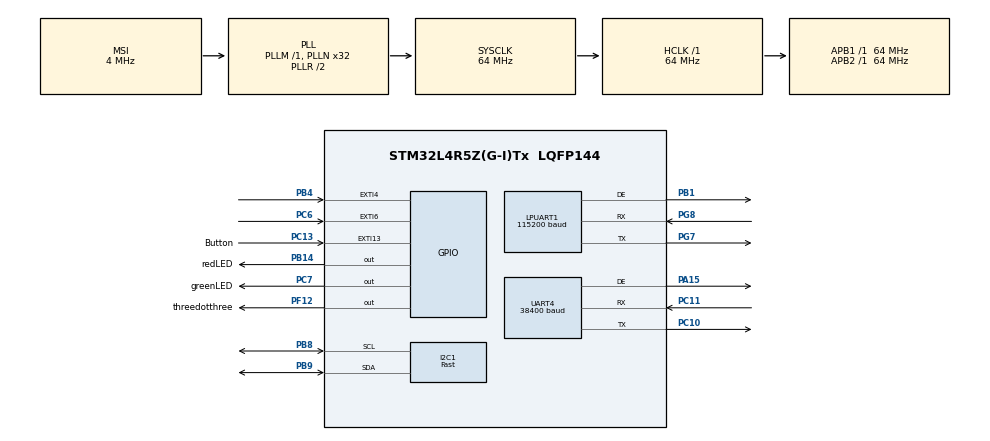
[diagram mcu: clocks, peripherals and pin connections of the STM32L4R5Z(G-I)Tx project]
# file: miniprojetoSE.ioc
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Mcu.Family=STM32L4
PG8.Mode=Asynchronous
VP_SYS_VS_tim6.Mode=TIM6
RCC.CortexFreq_Value=64000000
NVIC.DMA1_Channel5_IRQn=true\:5\:0\:false\:false\:true\:false\:false\:true
I2C1.I2C_Speed_Mode=I2C_Fast
NVIC.TIM6_DAC_IRQn=true\:0\:0\:false\:false\:true\:false\:false\:true
PG8.Signal=LPUART1_RX
Dma.LPUART1_RX.0.RequestNumber=1
PC10.Signal=UART4_TX
PB14.GPIO_Label=redLED
LPUART1.WordLength=UART_WORDLENGTH_8B
PA15\ (JTDI).Signal=UART4_DE
Dma.LPUART1_RX.0.Direction=DMA_PERIPH_TO_MEMORY
PC13.GPIO_Label=Button
RCC.SYSCLKSource=RCC_SYSCLKSOURCE_PLLCLK
ProjectManager.StackSize=0x400
VP_FREERTOS_VS_CMSIS_V2.Mode=CMSIS_V2
PA14\ (JTCK/SWCLK).Signal=SYS_JTCK-SWCLK
PA15\ (JTDI).Mode=Hardware Flow Control (RS485)
UART4.BaudRate=38400
RCC.HCLKFreq_Value=64000000
RCC.APB2TimFreq_Value=64000000
PC7.Signal=GPIO_Output
PF12.Signal=GPIO_Output
RCC.AHBFreq_Value=64000000
NVIC.EXTI15_10_IRQn=true\:5\:0\:false\:false\:true\:true\:true\:true
Dma.LPUART1_RX.0.PeriphDataAlignment=DMA_PDATAALIGN_BYTE
Dma.LPUART1_RX.0.Polarity=HAL_DMAMUX_REQUEST_GEN_RISING
RCC.HSE_VALUE=8000000
Dma.LPUART1_RX.0.MemInc=DMA_MINC_ENABLE
Dma.LPUART1_RX.0.SyncRequestNumber=1
PF12.GPIO_Label=threedotthree
Dma.LPUART1_RX.0.SyncPolarity=HAL_DMAMUX_SYNC_NO_EVENT
Dma.LPUART1_RX.0.SyncEnable=DISABLE
PA14\ (JTCK/SWCLK).Mode=Serial_Wire
Dma.LPUART1_RX.0.Priority=DMA_PRIORITY_LOW
Dma.LPUART1_RX.0.EventEnable=DISABLE
FREERTOS.configTOTAL_HEAP_SIZE=5000
Mcu.Package=LQFP144
PB9.Signal=I2C1_SDA
PB1.Signal=LPUART1_DE
Dma.LPUART1_RX.0.Mode=DMA_CIRCULAR
NVIC.TimeBase=TIM6_DAC_IRQn
NVIC.TimeBaseIP=TIM6
Dma.LPUART1_RX.0.SignalID=NONE
PC11.Mode=Asynchronous
Dma.LPUART1_RX.0.SyncSignalID=NONE
RCC.APB1TimFreq_Value=64000000
Dma.Request0=LPUART1_RX
RCC.HSI48_VALUE=48000000
RCC.MSI_VALUE=4000000
I2C1.Speed=200
NVIC.EXTI4_IRQn=true\:5\:0\:false\:false\:true\:true\:true\:true
FREERTOS.Tasks01=TransmitTask_BT,9,256,StartTransmitTask_BT,Default,NULL,Dynamic,NULL,NULL;SensorTask,25,512,StartSensorTask,Default,NULL,Dynamic,NULL,NULL
PG7.Signal=LPUART1_TX
PA13\ (JTMS/SWDIO).Mode=Serial_Wire
PC13.Signal=GPXTI13
PC11.Signal=UART4_RX
Dma.LPUART1_RX.0.MemDataAlignment=DMA_MDATAALIGN_BYTE
PC6.Signal=GPXTI6
PC10.Mode=Asynchronous
Dma.LPUART1_RX.0.Instance=DMA1_Channel5
Dma.LPUART1_RX.0.PeriphInc=DMA_PINC_DISABLE
ProjectManager.TargetToolchain=STM32CubeIDE
PB9.Mode=I2C
I2C1.Timing=0x40101A22
PG7.Mode=Asynchronous
RCC.LSE_VALUE=32768
PB14.Signal=GPIO_Output
board=custom
RCC.VCOOutputFreq_Value=128000000
RCC.APB2Freq_Value=64000000
Mcu.Name=STM32L4R5Z(G-I)Tx
LPUART1.BaudRate=115200
PC7.GPIO_Label=greenLED
RCC.SYSCLKFreq_VALUE=64000000
NVIC.EXTI9_5_IRQn=true\:5\:0\:false\:false\:true\:true\:true\:true
ProjectManager.HeapSize=0x200
PB1.Mode=Hardware Flow Control (RS485)
RCC.HSI_VALUE=16000000
NVIC.PriorityGroup=NVIC_PRIORITYGROUP_4
RCC.PLLN=32
PB8.Mode=I2C
PB8.Signal=I2C1_SCL
RCC.APB1Freq_Value=64000000
PA13\ (JTMS/SWDIO).Signal=SYS_JTMS-SWDIO
PB4\ (NJTRST).Signal=GPXTI4

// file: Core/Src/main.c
/* USER CODE BEGIN Header */
/**
  ******************************************************************************
  * @file           : main.c
  * @brief          : Main program body
  ******************************************************************************
  * @attention
  *
  * <h2><center>&copy; Copyright (c) 2021 STMicroelectronics.
  * All rights reserved.</center></h2>
  *
  * This software component is licensed by ST under BSD 3-Clause license,
  * the "License"; You may not use this file except in compliance with the
  * License. You may obtain a copy of the License at:
  *                        opensource.org/licenses/BSD-3-Clause
  *
  ******************************************************************************
  */
/* USER CODE END Header */
#include "main.h"
#include "cmsis_os.h"

/* USER CODE BEGIN Includes */
#include <string.h>
#include <stdio.h>
#include <math.h>
#include <mySensor.h>
#include "../Inc/Message.h"
#include "macros.h"
#include "mpu.h"
#include "inv_mpu.h"
#include "inv_mpu_dmp_motion_driver.h"
/* USER CODE END Includes */

/* USER CODE BEGIN PD */
#define BUFFER_LEN 1
/* USER CODE END PD */

I2C_HandleTypeDef hi2c1;

UART_HandleTypeDef hlpuart1;
UART_HandleTypeDef huart4;
DMA_HandleTypeDef hdma_lpuart1_rx;

/* Definitions for TransmitTask_BT */
osThreadId_t TransmitTask_BTHandle;
const osThreadAttr_t TransmitTask_BT_attributes = {
  .name = "TransmitTask_BT",
  .stack_size = 256 * 4,
  .priority = (osPriority_t) osPriorityLow1,
};
/* Definitions for SensorTask */
osThreadId_t SensorTaskHandle;
const osThreadAttr_t SensorTask_attributes = {
  .name = "SensorTask",
  .stack_size = 512 * 4,
  .priority = (osPriority_t) osPriorityNormal1,
};
/* USER CODE BEGIN PV */

uint8_t BT_BUFFER[BUFFER_LEN];
uint8_t SR_BUFFER[BUFFER_LEN] = "";

uint8_t read = 0;
struct hal_s hal = {0};
int removGrav = 1;

int _write(int file, char *ptr, int len)
{
	HAL_UART_Transmit(&hlpuart1, (uint8_t *) ptr, len, 10);
	return len;
}
//extern struct angles_t angle;// = {0,0,0};
//extern struct accel_t accel;// = {0,0,0};

//extern struct sensor_t MPU1;// = {{0,0,0},{0,0,0}};
struct sensor_t sensor1 = {0};
struct sensor_t sensor2 = {0};
//uint32_t temp = 0;
uint16_t counter = 0;

/* USER CODE END PV */

void SystemClock_Config(void);
static void MX_GPIO_Init(void);
static void MX_DMA_Init(void);
static void MX_LPUART1_UART_Init(void);
static void MX_UART4_Init(void);
static void MX_I2C1_Init(void);
void StartTransmitTask_BT(void *argument);
void StartSensorTask(void *argument);

int main(void)
{

  /* MCU Configuration--------------------------------------------------------*/

  /* Reset of all peripherals, Initializes the Flash interface and the Systick. */
  HAL_Init();

  /* Configure the system clock */
  SystemClock_Config();

  /* Initialize all configured peripherals */
  MX_GPIO_Init();
  MX_DMA_Init();
  MX_LPUART1_UART_Init();
  MX_UART4_Init();
  MX_I2C1_Init();
  /* USER CODE BEGIN 2 */
  HAL_UART_Receive_DMA (&hlpuart1, SR_BUFFER, BUFFER_LEN);
  HAL_UART_Receive_IT(&huart4, BT_BUFFER, BUFFER_LEN);

  HAL_GPIO_WritePin(threedotthree_GPIO_Port, threedotthree_Pin, GPIO_PIN_SET);
  /* USER CODE END 2 */

  /* Init scheduler */
  osKernelInitialize();

  /* Create the thread(s) */
  /* creation of TransmitTask_BT */
  TransmitTask_BTHandle = osThreadNew(StartTransmitTask_BT, NULL, &TransmitTask_BT_attributes);

  /* creation of SensorTask */
  SensorTaskHandle = osThreadNew(StartSensorTask, NULL, &SensorTask_attributes);

  /* Start scheduler */
  osKernelStart();

  /* We should never get here as control is now taken by the scheduler */
  /* Infinite loop */
  while (1)
  {

  }
}

void SystemClock_Config(void)
{
  RCC_OscInitTypeDef RCC_OscInitStruct = {0};
  RCC_ClkInitTypeDef RCC_ClkInitStruct = {0};
  RCC_PeriphCLKInitTypeDef PeriphClkInit = {0};

  /** Configure the main internal regulator output voltage
  */
  if (HAL_PWREx_ControlVoltageScaling(PWR_REGULATOR_VOLTAGE_SCALE1) != HAL_OK)
  {
    Error_Handler();
  }
  /** Initializes the RCC Oscillators according to the specified parameters
  * in the RCC_OscInitTypeDef structure.
  */
  RCC_OscInitStruct.OscillatorType = RCC_OSCILLATORTYPE_MSI;
  RCC_OscInitStruct.MSIState = RCC_MSI_ON;
  RCC_OscInitStruct.MSICalibrationValue = 0;
  RCC_OscInitStruct.MSIClockRange = RCC_MSIRANGE_6;
  RCC_OscInitStruct.PLL.PLLState = RCC_PLL_ON;
  RCC_OscInitStruct.PLL.PLLSource = RCC_PLLSOURCE_MSI;
  RCC_OscInitStruct.PLL.PLLM = 1;
  RCC_OscInitStruct.PLL.PLLN = 32;
  RCC_OscInitStruct.PLL.PLLP = RCC_PLLP_DIV2;
  RCC_OscInitStruct.PLL.PLLQ = RCC_PLLQ_DIV2;
  RCC_OscInitStruct.PLL.PLLR = RCC_PLLR_DIV2;
  if (HAL_RCC_OscConfig(&RCC_OscInitStruct) != HAL_OK)
  {
    Error_Handler();
  }
  /** Initializes the CPU, AHB and APB buses clocks
  */
  RCC_ClkInitStruct.ClockType = RCC_CLOCKTYPE_HCLK|RCC_CLOCKTYPE_SYSCLK
                              |RCC_CLOCKTYPE_PCLK1|RCC_CLOCKTYPE_PCLK2;
  RCC_ClkInitStruct.SYSCLKSource = RCC_SYSCLKSOURCE_PLLCLK;
  RCC_ClkInitStruct.AHBCLKDivider = RCC_SYSCLK_DIV1;
  RCC_ClkInitStruct.APB1CLKDivider = RCC_HCLK_DIV1;
  RCC_ClkInitStruct.APB2CLKDivider = RCC_HCLK_DIV1;

  if (HAL_RCC_ClockConfig(&RCC_ClkInitStruct, FLASH_LATENCY_3) != HAL_OK)
  {
    Error_Handler();
  }
  PeriphClkInit.PeriphClockSelection = RCC_PERIPHCLK_UART4|RCC_PERIPHCLK_LPUART1
                              |RCC_PERIPHCLK_I2C1;
  PeriphClkInit.Uart4ClockSelection = RCC_UART4CLKSOURCE_PCLK1;
  PeriphClkInit.Lpuart1ClockSelection = RCC_LPUART1CLKSOURCE_PCLK1;
  PeriphClkInit.I2c1ClockSelection = RCC_I2C1CLKSOURCE_PCLK1;
  if (HAL_RCCEx_PeriphCLKConfig(&PeriphClkInit) != HAL_OK)
  {
    Error_Handler();
  }
}

static void MX_I2C1_Init(void)
{

  hi2c1.Instance = I2C1;
  hi2c1.Init.Timing = 0x40101A22;
  hi2c1.Init.OwnAddress1 = 0;
  hi2c1.Init.AddressingMode = I2C_ADDRESSINGMODE_7BIT;
  hi2c1.Init.DualAddressMode = I2C_DUALADDRESS_DISABLE;
  hi2c1.Init.OwnAddress2 = 0;
  hi2c1.Init.OwnAddress2Masks = I2C_OA2_NOMASK;
  hi2c1.Init.GeneralCallMode = I2C_GENERALCALL_DISABLE;
  hi2c1.Init.NoStretchMode = I2C_NOSTRETCH_DISABLE;
  if (HAL_I2C_Init(&hi2c1) != HAL_OK)
  {
    Error_Handler();
  }
  /** Configure Analogue filter
  */
  if (HAL_I2CEx_ConfigAnalogFilter(&hi2c1, I2C_ANALOGFILTER_ENABLE) != HAL_OK)
  {
    Error_Handler();
  }
  /** Configure Digital filter
  */
  if (HAL_I2CEx_ConfigDigitalFilter(&hi2c1, 0) != HAL_OK)
  {
    Error_Handler();
  }

}

static void MX_LPUART1_UART_Init(void)
{

  hlpuart1.Instance = LPUART1;
  hlpuart1.Init.BaudRate = 115200;
  hlpuart1.Init.WordLength = UART_WORDLENGTH_8B;
  hlpuart1.Init.StopBits = UART_STOPBITS_1;
  hlpuart1.Init.Parity = UART_PARITY_NONE;
  hlpuart1.Init.Mode = UART_MODE_TX_RX;
  hlpuart1.Init.HwFlowCtl = UART_HWCONTROL_NONE;
  hlpuart1.Init.OneBitSampling = UART_ONE_BIT_SAMPLE_DISABLE;
  hlpuart1.Init.ClockPrescaler = UART_PRESCALER_DIV1;
  hlpuart1.AdvancedInit.AdvFeatureInit = UART_ADVFEATURE_NO_INIT;
  hlpuart1.FifoMode = UART_FIFOMODE_DISABLE;
  if (HAL_RS485Ex_Init(&hlpuart1, UART_DE_POLARITY_HIGH, 0, 0) != HAL_OK)
  {
    Error_Handler();
  }
  if (HAL_UARTEx_SetTxFifoThreshold(&hlpuart1, UART_TXFIFO_THRESHOLD_1_8) != HAL_OK)
  {
    Error_Handler();
  }
  if (HAL_UARTEx_SetRxFifoThreshold(&hlpuart1, UART_RXFIFO_THRESHOLD_1_8) != HAL_OK)
  {
    Error_Handler();
  }
  if (HAL_UARTEx_DisableFifoMode(&hlpuart1) != HAL_OK)
  {
    Error_Handler();
  }

}

static void MX_UART4_Init(void)
{

  huart4.Instance = UART4;
  huart4.Init.BaudRate = 38400;
  huart4.Init.WordLength = UART_WORDLENGTH_8B;
  huart4.Init.StopBits = UART_STOPBITS_1;
  huart4.Init.Parity = UART_PARITY_NONE;
  huart4.Init.Mode = UART_MODE_TX_RX;
  huart4.Init.HwFlowCtl = UART_HWCONTROL_NONE;
  huart4.Init.OverSampling = UART_OVERSAMPLING_16;
  huart4.Init.OneBitSampling = UART_ONE_BIT_SAMPLE_DISABLE;
  huart4.Init.ClockPrescaler = UART_PRESCALER_DIV1;
  huart4.AdvancedInit.AdvFeatureInit = UART_ADVFEATURE_NO_INIT;
  huart4.FifoMode = UART_FIFOMODE_DISABLE;
  if (HAL_RS485Ex_Init(&huart4, UART_DE_POLARITY_HIGH, 0, 0) != HAL_OK)
  {
    Error_Handler();
  }
  if (HAL_UARTEx_SetTxFifoThreshold(&huart4, UART_TXFIFO_THRESHOLD_1_8) != HAL_OK)
  {
    Error_Handler();
  }
  if (HAL_UARTEx_SetRxFifoThreshold(&huart4, UART_RXFIFO_THRESHOLD_1_8) != HAL_OK)
  {
    Error_Handler();
  }
  if (HAL_UARTEx_DisableFifoMode(&huart4) != HAL_OK)
  {
    Error_Handler();
  }

}

static void MX_DMA_Init(void)
{

  /* DMA controller clock enable */
  __HAL_RCC_DMAMUX1_CLK_ENABLE();
  __HAL_RCC_DMA1_CLK_ENABLE();

  /* DMA interrupt init */
  /* DMA1_Channel5_IRQn interrupt configuration */
  HAL_NVIC_SetPriority(DMA1_Channel5_IRQn, 5, 0);
  HAL_NVIC_EnableIRQ(DMA1_Channel5_IRQn);

}

static void MX_GPIO_Init(void)
{
  GPIO_InitTypeDef GPIO_InitStruct = {0};

  /* GPIO Ports Clock Enable */
  __HAL_RCC_GPIOC_CLK_ENABLE();
  __HAL_RCC_GPIOB_CLK_ENABLE();
  __HAL_RCC_GPIOF_CLK_ENABLE();
  __HAL_RCC_GPIOG_CLK_ENABLE();
  HAL_PWREx_EnableVddIO2();
  __HAL_RCC_GPIOA_CLK_ENABLE();

  /*Configure GPIO pin Output Level */
  HAL_GPIO_WritePin(threedotthree_GPIO_Port, threedotthree_Pin, GPIO_PIN_RESET);

  /*Configure GPIO pin Output Level */
  HAL_GPIO_WritePin(redLED_GPIO_Port, redLED_Pin, GPIO_PIN_RESET);

  /*Configure GPIO pin Output Level */
  HAL_GPIO_WritePin(greenLED_GPIO_Port, greenLED_Pin, GPIO_PIN_RESET);

  /*Configure GPIO pins : Button_Pin PC6 */
  GPIO_InitStruct.Pin = Button_Pin|GPIO_PIN_6;
  GPIO_InitStruct.Mode = GPIO_MODE_IT_RISING;
  GPIO_InitStruct.Pull = GPIO_NOPULL;
  HAL_GPIO_Init(GPIOC, &GPIO_InitStruct);

  /*Configure GPIO pin : threedotthree_Pin */
  GPIO_InitStruct.Pin = threedotthree_Pin;
  GPIO_InitStruct.Mode = GPIO_MODE_OUTPUT_PP;
  GPIO_InitStruct.Pull = GPIO_NOPULL;
  GPIO_InitStruct.Speed = GPIO_SPEED_FREQ_LOW;
  HAL_GPIO_Init(threedotthree_GPIO_Port, &GPIO_InitStruct);

  /*Configure GPIO pin : redLED_Pin */
  GPIO_InitStruct.Pin = redLED_Pin;
  GPIO_InitStruct.Mode = GPIO_MODE_OUTPUT_PP;
  GPIO_InitStruct.Pull = GPIO_NOPULL;
  GPIO_InitStruct.Speed = GPIO_SPEED_FREQ_LOW;
  HAL_GPIO_Init(redLED_GPIO_Port, &GPIO_InitStruct);

  /*Configure GPIO pin : greenLED_Pin */
  GPIO_InitStruct.Pin = greenLED_Pin;
  GPIO_InitStruct.Mode = GPIO_MODE_OUTPUT_PP;
  GPIO_InitStruct.Pull = GPIO_NOPULL;
  GPIO_InitStruct.Speed = GPIO_SPEED_FREQ_LOW;
  HAL_GPIO_Init(greenLED_GPIO_Port, &GPIO_InitStruct);

  /*Configure GPIO pin : PB4 */
  GPIO_InitStruct.Pin = GPIO_PIN_4;
  GPIO_InitStruct.Mode = GPIO_MODE_IT_RISING;
  GPIO_InitStruct.Pull = GPIO_NOPULL;
  HAL_GPIO_Init(GPIOB, &GPIO_InitStruct);

  /* EXTI interrupt init*/
  HAL_NVIC_SetPriority(EXTI4_IRQn, 5, 0);
  HAL_NVIC_EnableIRQ(EXTI4_IRQn);

  HAL_NVIC_SetPriority(EXTI9_5_IRQn, 5, 0);
  HAL_NVIC_EnableIRQ(EXTI9_5_IRQn);

  HAL_NVIC_SetPriority(EXTI15_10_IRQn, 5, 0);
  HAL_NVIC_EnableIRQ(EXTI15_10_IRQn);

}

/* USER CODE BEGIN 4 */
void HAL_GPIO_EXTI_Callback(uint16_t GPIO_Pin){
	if(GPIO_Pin == GPIO_PIN_6){
		sensor1.interrupt_flag = 1;
//		printf("Int1\n");
	}
	if(GPIO_Pin == GPIO_PIN_4){
		sensor2.interrupt_flag = 1;
//		printf("Int2\n");
	}
	if(GPIO_Pin == Button_Pin){
		if(removGrav == 0) removGrav = 1;
		else removGrav = 0;
	}
}

/*
void calibrateMPU(void){
	uint8_t state = 0;
	while(true){
		switch(state){
			case 0:

			break;
			case 1:
			break;
		}
	}
}
*/

/* USER CODE END 4 */

void StartTransmitTask_BT(void *argument)
{
  /* USER CODE BEGIN 5 */
  /* Infinite loop */

  /* Infinite loop */
	for(;;)
	{
		sendSensor(&sensor1);
//		sendSensor(&sensor2);

		osDelay(150);
	}
  /* USER CODE END 5 */
}

void StartSensorTask(void *argument)
{
  /* USER CODE BEGIN StartSensorTask */
	if(MPU_init(&sensor1,(int)0)) NVIC_SystemReset();
//	if(MPU_init(&sensor2,(int)0)) NVIC_SystemReset();

  /* Infinite loop */
  for(;;)
  {
	readSensorData(&sensor1);
//	readSensorData(&sensor2);
	osDelay(1);
  }
  /* USER CODE END StartSensorTask */
}

 /**
  * @brief  Period elapsed callback in non blocking mode
  * @note   This function is called  when TIM6 interrupt took place, inside
  * HAL_TIM_IRQHandler(). It makes a direct call to HAL_IncTick() to increment
  * a global variable "uwTick" used as application time base.
  * @param  htim : TIM handle
  * @retval None
  */
void HAL_TIM_PeriodElapsedCallback(TIM_HandleTypeDef *htim)
{
  if (htim->Instance == TIM6) {
    HAL_IncTick();
  }
}

void Error_Handler(void)
{
  /* USER CODE BEGIN Error_Handler_Debug */
	printf("ERROR! \n\r");
  /* User can add his own implementation to report the HAL error return state */
  __disable_irq();
  while (1)
  {
  }
  /* USER CODE END Error_Handler_Debug */
}

/************************ (C) COPYRIGHT STMicroelectronics *****END OF FILE****/
